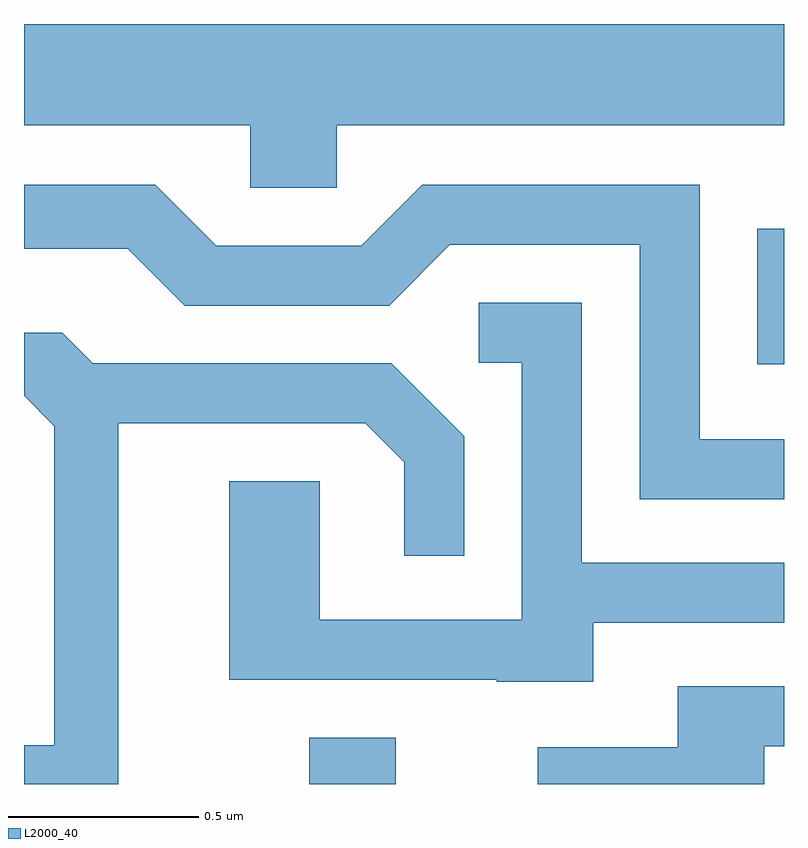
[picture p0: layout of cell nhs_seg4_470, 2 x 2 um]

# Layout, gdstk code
import gdstk
lib = gdstk.Library(unit=1e-6, precision=1e-09)
def R(c, l, rs):  # rectangles x0, y0, x1, y1
    for r in rs: c.add(gdstk.rectangle(r[:2], r[2:], *l))
def P(c, l, *ps):  # polygons
    for p in ps: c.add(gdstk.Polygon(p, *l))
L2000_40 = (2000, 40)

nhs_seg4_470 = lib.new_cell('nhs_seg4_470')
R(nhs_seg4_470, L2000_40, [(189.361,1312.982,189.589,1313.104), (190.541,1314.086,190.611,1314.443)])
P(nhs_seg4_470, L2000_40, [(189.434,1314.716),(190.611,1314.716),(190.611,1314.982),(188.611,1314.982),(188.611,1314.716),(189.206,1314.716),(189.206,1314.551),(189.434,1314.551)],
  [(190.611,1313.889),(190.389,1313.889),(190.389,1314.559),(189.659,1314.559),(189.499,1314.399),(189.117,1314.399),(188.957,1314.559),(188.611,1314.559),(188.611,1314.391),(188.884,1314.391),(189.034,1314.241),(189.572,1314.241),(189.732,1314.401),(190.231,1314.401),(190.231,1313.731),(190.611,1313.731)],
  [(190.109,1313.406),(190.611,1313.406),(190.611,1313.564),(190.079,1313.564),(190.079,1314.249),(189.808,1314.249),(189.808,1314.091),(189.921,1314.091),(189.921,1313.414),(189.389,1313.414),(189.389,1313.779),(189.151,1313.779),(189.151,1313.256),(189.855,1313.256),(189.855,1313.251),(190.109,1313.251)],
  [(188.859,1313.931),(189.509,1313.931),(189.611,1313.829),(189.611,1313.583),(189.769,1313.583),(189.769,1313.897),(189.577,1314.089),(188.792,1314.089),(188.712,1314.169),(188.611,1314.169),(188.611,1314.004),(188.691,1313.924),(188.691,1313.084),(188.611,1313.084),(188.611,1312.982),(188.859,1312.982)],
  [(190.559,1313.081),(190.611,1313.081),(190.611,1313.239),(190.331,1313.239),(190.331,1313.079),(189.963,1313.079),(189.963,1312.982),(190.559,1312.982)])

lib.write_gds('nhs_seg4_470.gds')
